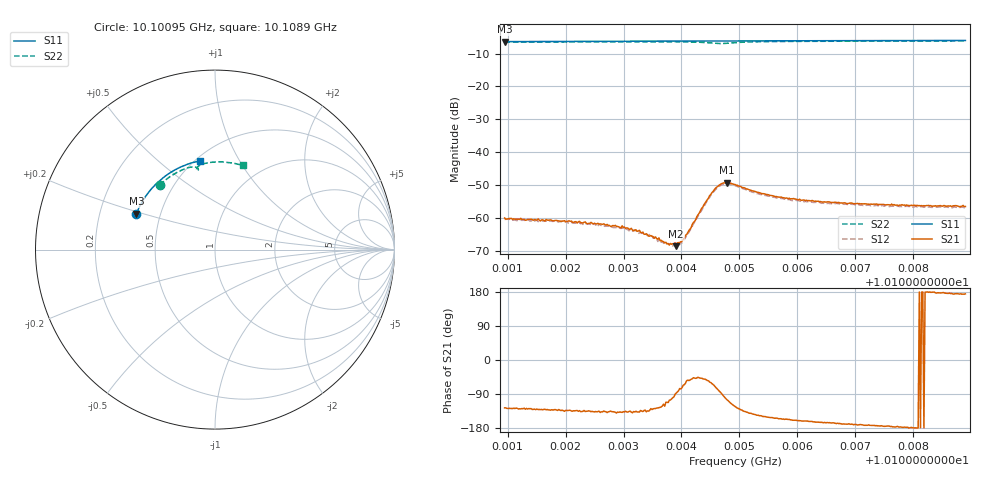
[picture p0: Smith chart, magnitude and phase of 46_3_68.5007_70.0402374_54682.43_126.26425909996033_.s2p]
#  HZ  S  RI  R  50.00
! Rohde & Schwarz Vector Network Analyzer
! Rohde-Schwarz,ZNB20-2Port,1311601062101988,3.16
! Created: UTC 3/20/2024, 5:05:48 PM
! freq[Hz]  re:S11  im:S11  re:S21  im:S21  re:S12  im:S12  re:S22  im:S22
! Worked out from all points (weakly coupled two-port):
!   401 points, 10.10095 GHz to 10.1089 GHz, reference 50 ohm
!   highest |S21| = -49.29 dB at 10.10478 GHz (marker M1); lowest = -68.6 dB at 10.10391 GHz (marker M2)
!   lowest |S11| = -6.3 dB at 10.10095 GHz (marker M3), VSWR 2.86, Z = 18.2 + j9.5 ohm
!   |S11| at or under -10 dB: nowhere
!   |S22| runs from -6.9 to -6.1 dB; largest |S21 - S12| = 0.00035
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1.0100948e10  -0.4379 0.2002  -0.000589 -0.000803  -0.000494 -0.000808  -0.3085 0.3599
1.0101982e10  -0.4111 0.2572  -0.000643 -0.000635  -0.000577 -0.000668  -0.2566 0.4022
1.010228e10  -0.402 0.2729  -0.000608 -0.000585  -0.000528 -0.000637  -0.2403 0.4131
1.0102618e10  -0.391 0.2902  -0.000584 -0.000551  -0.000504 -0.000577  -0.2213 0.4246
1.0103015e10  -0.377 0.31  -0.000529 -0.000492  -0.000458 -0.000482  -0.1979 0.437
1.0103333e10  -0.3651 0.3252  -0.000436 -0.000422  -0.000356 -0.000462  -0.1783 0.446
1.0103492e10  -0.3589 0.3326  -0.000342 -0.000396  -0.000322 -0.000419  -0.1681 0.4498
1.0103612e10  -0.3544 0.3383  -0.00029 -0.000403  -0.000254 -0.000405  -0.1603 0.4529
1.0103751e10  -0.3487 0.3444  -0.000148 -0.000373  -0.000109 -0.000389  -0.1508 0.4559
1.010391e10  -0.3422 0.3515  1.76e-05 -0.000371  4.34e-05 -0.000371  -0.1393 0.4589
1.0103989e10  -0.3388 0.3551  0.000103 -0.000421  0.000155 -0.000399  -0.1334 0.46
1.0104049e10  -0.3364 0.3576  0.000206 -0.000444  0.000242 -0.0004  -0.1287 0.4605
1.0104387e10  -0.3216 0.372  0.00101 -0.00122  0.00106 -0.00106  -0.1009 0.4568
1.0104546e10  -0.3147 0.3785  0.00106 -0.00229  0.00122 -0.00212  -0.0927 0.4466
1.0104685e10  -0.3084 0.3839  0.000148 -0.00329  0.000415 -0.00312  -0.0968 0.4398
1.0104785e10  -0.3038 0.388  -0.000883 -0.00332  -0.000541 -0.00324  -0.1017 0.4429
1.0104924e10  -0.2975 0.3933  -0.00173 -0.00272  -0.00143 -0.00276  -0.1016 0.4534
1.0105262e10  -0.2814 0.4062  -0.00205 -0.0015  -0.00182 -0.00161  -0.0814 0.4717
1.010564e10  -0.2629 0.4196  -0.00188 -0.000949  -0.00171 -0.00104  -0.0548 0.4806
1.0106256e10  -0.2313 0.4395  -0.00175 -0.000558  -0.00161 -0.000643  -0.0128 0.487
1.0107588e10  -0.1585 0.4736  -0.00156 -0.000151  -0.00146 -0.000263  0.074 0.4856
1.01089e10  -0.0821 0.4949  -0.00148 0.000145  -0.00144 1.72e-05  0.1561 0.4686
